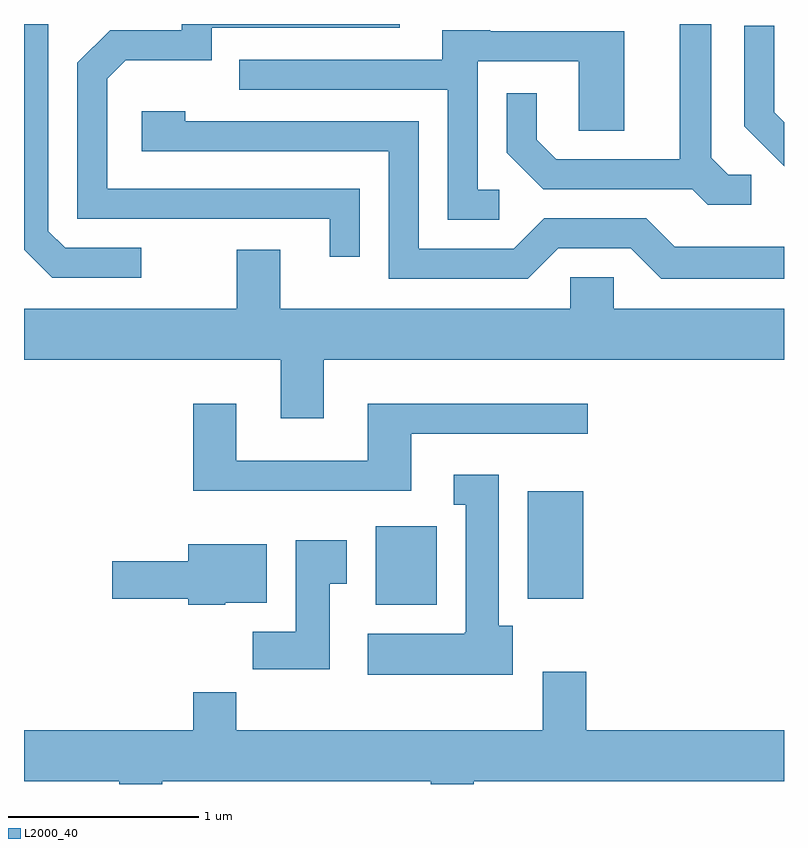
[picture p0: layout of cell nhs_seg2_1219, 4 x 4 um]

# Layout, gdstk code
import gdstk
lib = gdstk.Library(unit=1e-6, precision=1e-09)
def R(c, l, rs):  # rectangles x0, y0, x1, y1
    for r in rs: c.add(gdstk.rectangle(r[:2], r[2:], *l))
def P(c, l, *ps):  # polygons
    for p in ps: c.add(gdstk.Polygon(p, *l))
L2000_40 = (2000, 40)

nhs_seg2_1219 = lib.new_cell('nhs_seg2_1219')
R(nhs_seg2_1219, L2000_40, [(221.461,1104.746,221.784,1105.159), (222.261,1104.776,222.554,1105.344)])
P(nhs_seg2_1219, L2000_40, [(220.228,1106.624),(219.827,1106.624),(219.739,1106.712),(219.739,1107.802),(219.611,1107.802),(219.611,1106.614),(219.759,1106.466),(220.228,1106.466)],
  [(221.379,1106.934),(220.049,1106.934),(220.049,1107.514),(220.147,1107.611),(220.599,1107.611),(220.599,1107.781),(221.589,1107.781),(221.589,1107.802),(220.441,1107.802),(220.441,1107.769),(220.064,1107.769),(219.891,1107.597),(219.891,1106.776),(221.221,1106.776),(221.221,1106.578),(221.379,1106.578)],
  [(223.438,1107.009),(223.317,1107.009),(223.229,1107.097),(223.229,1107.802),(223.061,1107.802),(223.061,1107.089),(222.412,1107.089),(222.309,1107.192),(222.309,1107.438),(222.151,1107.438),(222.151,1107.124),(222.344,1106.931),(223.129,1106.931),(223.209,1106.851),(223.438,1106.851)],
  [(223.611,1107.285),(223.559,1107.337),(223.559,1107.793),(223.401,1107.793),(223.401,1107.264),(223.611,1107.054)],
  [(222.113,1106.929),(221.999,1106.929),(221.999,1107.606),(222.531,1107.606),(222.531,1107.241),(222.769,1107.241),(222.769,1107.764),(222.065,1107.764),(222.065,1107.769),(221.811,1107.769),(221.811,1107.614),(220.743,1107.614),(220.743,1107.456),(221.841,1107.456),(221.841,1106.771),(222.113,1106.771)],
  [(222.422,1106.621),(222.804,1106.621),(222.964,1106.461),(223.611,1106.461),(223.611,1106.629),(223.037,1106.629),(222.887,1106.779),(222.349,1106.779),(222.189,1106.619),(221.689,1106.619),(221.689,1107.289),(220.459,1107.289),(220.459,1107.344),(220.231,1107.344),(220.231,1107.131),(221.531,1107.131),(221.531,1106.461),(222.262,1106.461)],
  [(221.189,1106.036),(223.611,1106.036),(223.611,1106.304),(222.714,1106.304),(222.714,1106.469),(222.486,1106.469),(222.486,1106.304),(220.959,1106.304),(220.959,1106.614),(220.731,1106.614),(220.731,1106.304),(219.611,1106.304),(219.611,1106.036),(220.961,1106.036),(220.961,1105.726),(221.189,1105.726)],
  [(221.649,1105.646),(222.578,1105.646),(222.578,1105.804),(221.421,1105.804),(221.421,1105.504),(220.729,1105.504),(220.729,1105.804),(220.501,1105.804),(220.501,1105.346),(221.649,1105.346)],
  [(222.184,1104.634),(222.109,1104.634),(222.109,1105.429),(221.873,1105.429),(221.873,1105.271),(221.936,1105.271),(221.936,1104.6),(221.93,1104.6),(221.93,1104.594),(221.421,1104.594),(221.421,1104.376),(222.184,1104.376)],
  [(221.219,1104.856),(221.309,1104.856),(221.309,1105.084),(221.041,1105.084),(221.041,1104.604),(220.816,1104.604),(220.816,1104.406),(221.219,1104.406)],
  [(220.67,1104.756),(220.889,1104.756),(220.889,1105.064),(220.476,1105.064),(220.476,1104.974),(220.076,1104.974),(220.076,1104.776),(220.476,1104.776),(220.476,1104.746),(220.67,1104.746)],
  [(220.339,1103.816),(221.751,1103.816),(221.751,1103.802),(221.979,1103.802),(221.979,1103.816),(223.611,1103.816),(223.611,1104.084),(222.569,1104.084),(222.569,1104.394),(222.341,1104.394),(222.341,1104.084),(220.729,1104.084),(220.729,1104.284),(220.501,1104.284),(220.501,1104.084),(219.611,1104.084),(219.611,1103.816),(220.111,1103.816),(220.111,1103.802),(220.339,1103.802)])

lib.write_gds('nhs_seg2_1219.gds')
